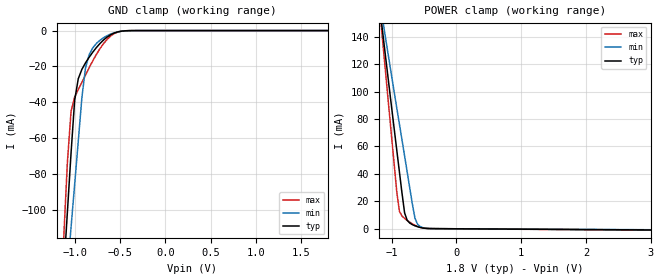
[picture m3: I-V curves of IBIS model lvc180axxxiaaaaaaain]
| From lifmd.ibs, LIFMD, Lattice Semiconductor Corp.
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|   Model lvc180axxxiaaaaaaain
[Model] lvc180axxxiaaaaaaain
Model_type Input
Polarity   Non-Inverting
Vinl =  0.630V
Vinh =  1.170V
C_comp   5.000pF   4.000pF   5.500pF
[Temperature Range]   25.000   0.125k   -40.000
[Voltage Range]   1.800V   1.710V   1.890V
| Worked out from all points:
|   GND clamp passes 1 mA (typ) near -0.54 V on its own axis
|   POWER clamp passes 1 mA (typ) near -0.56 V on its own axis
[GND_clamp]
|Voltage   I(typ)   I(min)   I(max)
-1.8V     -696.3mA   -577.9mA   -833.3mA
-1.12V    -133.9mA   -158.6mA   -115.3mA
-1.08V    -101.3mA   -134.3mA   -73.45mA
-1.04V    -68.65mA   -110.1mA   -45.28mA
-1V       -38.97mA   -85.9mA    -37.19mA
-960mV    -26.91mA   -61.71mA   -32.92mA
-920mV    -21.64mA   -37.35mA   -28.96mA
-880mV    -18.02mA   -20.78mA   -24.84mA
-800mV    -12.05mA   -9.617mA   -16.87mA
-680mV    -5.205mA   -3.967mA   -7.195mA
-440mV    -125.3uA   -155.5uA   -107.7uA
1.8V      0A         0A         0A
[POWER_clamp]
|Voltage   I(typ)   I(min)   I(max)
-1.8V     417mA      358.2mA    486.8mA
-1.16V    151.7mA    158.7mA    147.8mA
-1.12V    135.7mA    146.8mA    127.3mA
-920mV    56.89mA    87.77mA    26.5mA
-880mV    41.38mA    76.25mA    12.77mA
-800mV    11.56mA    53.05mA    7.539mA
-760mV    6.141mA    41.32mA    6.086mA
-680mV    3.009mA    17.95mA    3.597mA
-640mV    2.17mA     7.684mA    2.581mA
-600mV    1.495mA    3.327mA    1.736mA
-440mV    197.7uA    253.9uA    205.9uA
3.6V      -1.035mA   -849.1uA   -1.289mA
